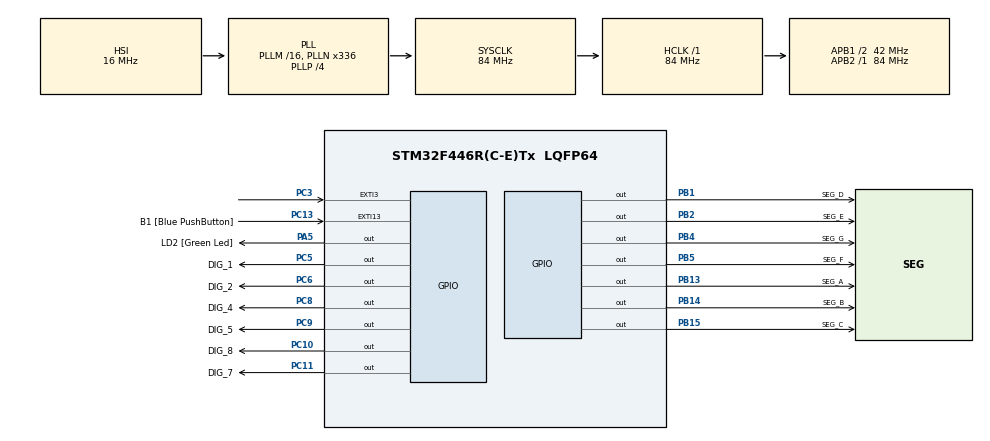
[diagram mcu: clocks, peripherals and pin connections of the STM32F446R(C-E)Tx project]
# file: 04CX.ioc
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Mcu.Family=STM32F4
Mcu.Name=STM32F446R(C-E)Tx
Mcu.Package=LQFP64
NVIC.EXTI15_10_IRQn=true\:0\:0\:false\:false\:true\:true\:true\:true
NVIC.EXTI3_IRQn=true\:0\:0\:false\:false\:true\:true\:true\:true
NVIC.PriorityGroup=NVIC_PRIORITYGROUP_0
PA13.GPIO_Label=TMS
PA13.Signal=SYS_JTMS-SWDIO
PA14.GPIO_Label=TCK
PA14.Signal=SYS_JTCK-SWCLK
PA2.GPIO_Label=USART_TX
PA2.Signal=USART2_TX
PA3.GPIO_Label=USART_RX
PA3.Signal=USART2_RX
PA5.GPIO_Label=LD2 [Green Led]
PA5.Signal=GPIO_Output
PB1.GPIO_Label=SEG_D
PB1.Signal=GPIO_Output
PB13.GPIO_Label=SEG_A
PB13.Signal=GPIO_Output
PB14.GPIO_Label=SEG_B
PB14.Signal=GPIO_Output
PB15.GPIO_Label=SEG_C
PB15.Signal=GPIO_Output
PB2.GPIO_Label=SEG_E
PB2.Signal=GPIO_Output
PB3.GPIO_Label=SWO
PB3.Signal=SYS_JTDO-SWO
PB4.GPIO_Label=SEG_G
PB4.Signal=GPIO_Output
PB5.GPIO_Label=SEG_F
PB5.Signal=GPIO_Output
PC10.GPIO_Label=DIG_8
PC10.Signal=GPIO_Output
PC11.GPIO_Label=DIG_7
PC11.Signal=GPIO_Output
PC13.GPIO_Label=B1 [Blue PushButton]
PC13.GPIO_ModeDefaultEXTI=GPIO_MODE_IT_FALLING
PC13.Signal=GPXTI13
PC14-OSC32_IN.Signal=RCC_OSC32_IN
PC15-OSC32_OUT.Signal=RCC_OSC32_OUT
PC3.GPIO_ModeDefaultEXTI=GPIO_MODE_IT_FALLING
PC3.GPIO_PuPd=GPIO_PULLUP
PC3.Signal=GPXTI3
PC5.GPIO_Label=DIG_1
PC5.Signal=GPIO_Output
PC6.GPIO_Label=DIG_2
PC6.Signal=GPIO_Output
PC8.GPIO_Label=DIG_4
PC8.Signal=GPIO_Output
PC9.GPIO_Label=DIG_5
PC9.Signal=GPIO_Output
PH0-OSC_IN.Signal=RCC_OSC_IN
PH1-OSC_OUT.Signal=RCC_OSC_OUT
ProjectManager.HeapSize=0x200
ProjectManager.StackSize=0x400
ProjectManager.TargetToolchain=STM32CubeIDE
RCC.AHBFreq_Value=84000000
RCC.APB1CLKDivider=RCC_HCLK_DIV2
RCC.APB1Freq_Value=42000000
RCC.APB1TimFreq_Value=84000000
RCC.APB2Freq_Value=84000000
RCC.APB2TimFreq_Value=84000000
RCC.CortexFreq_Value=84000000
RCC.FLatency-AdvancedSettings=FLASH_LATENCY_2
RCC.HCLKFreq_Value=84000000
RCC.HSE_VALUE=8000000
RCC.HSI_VALUE=16000000
RCC.LSE_VALUE=32768
RCC.PLLN=336
RCC.PLLP=RCC_PLLP_DIV4
RCC.SYSCLKFreq_VALUE=84000000
RCC.SYSCLKSource=RCC_SYSCLKSOURCE_PLLCLK
RCC.USBFreq_Value=168000000
RCC.VCOOutputFreq_Value=336000000
board=NUCLEO-F446RE

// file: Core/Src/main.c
/* USER CODE BEGIN Header */
/**
  ******************************************************************************
  * @file           : main.c
  * @brief          : Main program body
  ******************************************************************************
  * @attention
  *
  * Copyright (c) 2025 STMicroelectronics.
  * All rights reserved.
  *
  * This software is licensed under terms that can be found in the LICENSE file
  * in the root directory of this software component.
  * If no LICENSE file comes with this software, it is provided AS-IS.
  *
  ******************************************************************************
  */
/* USER CODE END Header */
#include "main.h"

/* USER CODE BEGIN Includes */
#include <stdio.h>
/* USER CODE END Includes */

/* USER CODE BEGIN PV */

volatile uint8_t ui8Time[6];
volatile int iHours, iMinutes, iSeconds;
volatile uint16_t ui16SecondTick = 0;

/* USER CODE END PV */

void SystemClock_Config(void);
static void MX_GPIO_Init(void);

int main(void)
{

  /* MCU Configuration--------------------------------------------------------*/

  /* Reset of all peripherals, Initializes the Flash interface and the Systick. */
  HAL_Init();

  /* Configure the system clock */
  SystemClock_Config();

  /* Initialize all configured peripherals */
  MX_GPIO_Init();
  /* USER CODE BEGIN 2 */

  //HAL_GPIO_WritePin(DIG_1_GPIO_Port, DIG_1_Pin, GPIO_PIN_SET); for initial testing

  sscanf(__TIME__,"%d:%d:%d",&iHours,&iMinutes,&iSeconds);
  ui8Time[0] = 0;//(uint8_t)(iHours/10);	// Tens of Hours
  ui8Time[1] = 9;//(uint8_t)(iHours%10);	// Hours
  ui8Time[2] = (uint8_t)(iMinutes/10);	// Tens Of Minutes
  ui8Time[3] = (uint8_t)(iMinutes%10);	//  Minutes
  ui8Time[4] = (uint8_t)(iSeconds/10);	// Tens Of Seconds
  ui8Time[5] = (uint8_t)(iSeconds%10);	// Seconds
  /* USER CODE END 2 */

  /* Infinite loop */
  /* USER CODE BEGIN WHILE */
  while (1)
  {
//	  for(uint8_t i=0; i<11; i++) // only for initial testing
//	  {
//		  Decode(i);
//		  HAL_Delay(1000);
//	  }

	  Multiplex();
    /* USER CODE END WHILE */

  }
}

void SystemClock_Config(void)
{
  RCC_OscInitTypeDef RCC_OscInitStruct = {0};
  RCC_ClkInitTypeDef RCC_ClkInitStruct = {0};

  /** Configure the main internal regulator output voltage
  */
  __HAL_RCC_PWR_CLK_ENABLE();
  __HAL_PWR_VOLTAGESCALING_CONFIG(PWR_REGULATOR_VOLTAGE_SCALE3);

  /** Initializes the RCC Oscillators according to the specified parameters
  * in the RCC_OscInitTypeDef structure.
  */
  RCC_OscInitStruct.OscillatorType = RCC_OSCILLATORTYPE_HSI;
  RCC_OscInitStruct.HSIState = RCC_HSI_ON;
  RCC_OscInitStruct.HSICalibrationValue = RCC_HSICALIBRATION_DEFAULT;
  RCC_OscInitStruct.PLL.PLLState = RCC_PLL_ON;
  RCC_OscInitStruct.PLL.PLLSource = RCC_PLLSOURCE_HSI;
  RCC_OscInitStruct.PLL.PLLM = 16;
  RCC_OscInitStruct.PLL.PLLN = 336;
  RCC_OscInitStruct.PLL.PLLP = RCC_PLLP_DIV4;
  RCC_OscInitStruct.PLL.PLLQ = 2;
  RCC_OscInitStruct.PLL.PLLR = 2;
  if (HAL_RCC_OscConfig(&RCC_OscInitStruct) != HAL_OK)
  {
    Error_Handler();
  }

  /** Initializes the CPU, AHB and APB buses clocks
  */
  RCC_ClkInitStruct.ClockType = RCC_CLOCKTYPE_HCLK|RCC_CLOCKTYPE_SYSCLK
                              |RCC_CLOCKTYPE_PCLK1|RCC_CLOCKTYPE_PCLK2;
  RCC_ClkInitStruct.SYSCLKSource = RCC_SYSCLKSOURCE_PLLCLK;
  RCC_ClkInitStruct.AHBCLKDivider = RCC_SYSCLK_DIV1;
  RCC_ClkInitStruct.APB1CLKDivider = RCC_HCLK_DIV2;
  RCC_ClkInitStruct.APB2CLKDivider = RCC_HCLK_DIV1;

  if (HAL_RCC_ClockConfig(&RCC_ClkInitStruct, FLASH_LATENCY_2) != HAL_OK)
  {
    Error_Handler();
  }
}

static void MX_GPIO_Init(void)
{
  GPIO_InitTypeDef GPIO_InitStruct = {0};

  /* GPIO Ports Clock Enable */
  __HAL_RCC_GPIOC_CLK_ENABLE();
  __HAL_RCC_GPIOH_CLK_ENABLE();
  __HAL_RCC_GPIOA_CLK_ENABLE();
  __HAL_RCC_GPIOB_CLK_ENABLE();

  /*Configure GPIO pin Output Level */
  HAL_GPIO_WritePin(LD2_GPIO_Port, LD2_Pin, GPIO_PIN_RESET);

  /*Configure GPIO pin Output Level */
  HAL_GPIO_WritePin(GPIOC, DIG_1_Pin|DIG_2_Pin|DIG_4_Pin|DIG_5_Pin
                          |DIG_8_Pin|DIG_7_Pin, GPIO_PIN_RESET);

  /*Configure GPIO pin Output Level */
  HAL_GPIO_WritePin(GPIOB, SEG_D_Pin|SEG_E_Pin|SEG_A_Pin|SEG_B_Pin
                          |SEG_C_Pin|SEG_G_Pin|SEG_F_Pin, GPIO_PIN_RESET);

  /*Configure GPIO pin : B1_Pin */
  GPIO_InitStruct.Pin = B1_Pin;
  GPIO_InitStruct.Mode = GPIO_MODE_IT_FALLING;
  GPIO_InitStruct.Pull = GPIO_NOPULL;
  HAL_GPIO_Init(B1_GPIO_Port, &GPIO_InitStruct);

  /*Configure GPIO pin : PC3 */
  GPIO_InitStruct.Pin = GPIO_PIN_3;
  GPIO_InitStruct.Mode = GPIO_MODE_IT_FALLING;
  GPIO_InitStruct.Pull = GPIO_PULLUP;
  HAL_GPIO_Init(GPIOC, &GPIO_InitStruct);

  /*Configure GPIO pins : USART_TX_Pin USART_RX_Pin */
  GPIO_InitStruct.Pin = USART_TX_Pin|USART_RX_Pin;
  GPIO_InitStruct.Mode = GPIO_MODE_AF_PP;
  GPIO_InitStruct.Pull = GPIO_NOPULL;
  GPIO_InitStruct.Speed = GPIO_SPEED_FREQ_VERY_HIGH;
  GPIO_InitStruct.Alternate = GPIO_AF7_USART2;
  HAL_GPIO_Init(GPIOA, &GPIO_InitStruct);

  /*Configure GPIO pin : LD2_Pin */
  GPIO_InitStruct.Pin = LD2_Pin;
  GPIO_InitStruct.Mode = GPIO_MODE_OUTPUT_PP;
  GPIO_InitStruct.Pull = GPIO_NOPULL;
  GPIO_InitStruct.Speed = GPIO_SPEED_FREQ_LOW;
  HAL_GPIO_Init(LD2_GPIO_Port, &GPIO_InitStruct);

  /*Configure GPIO pins : DIG_1_Pin DIG_2_Pin DIG_4_Pin DIG_5_Pin
                           DIG_8_Pin DIG_7_Pin */
  GPIO_InitStruct.Pin = DIG_1_Pin|DIG_2_Pin|DIG_4_Pin|DIG_5_Pin
                          |DIG_8_Pin|DIG_7_Pin;
  GPIO_InitStruct.Mode = GPIO_MODE_OUTPUT_PP;
  GPIO_InitStruct.Pull = GPIO_NOPULL;
  GPIO_InitStruct.Speed = GPIO_SPEED_FREQ_LOW;
  HAL_GPIO_Init(GPIOC, &GPIO_InitStruct);

  /*Configure GPIO pins : SEG_D_Pin SEG_E_Pin SEG_A_Pin SEG_B_Pin
                           SEG_C_Pin SEG_G_Pin SEG_F_Pin */
  GPIO_InitStruct.Pin = SEG_D_Pin|SEG_E_Pin|SEG_A_Pin|SEG_B_Pin
                          |SEG_C_Pin|SEG_G_Pin|SEG_F_Pin;
  GPIO_InitStruct.Mode = GPIO_MODE_OUTPUT_PP;
  GPIO_InitStruct.Pull = GPIO_NOPULL;
  GPIO_InitStruct.Speed = GPIO_SPEED_FREQ_LOW;
  HAL_GPIO_Init(GPIOB, &GPIO_InitStruct);

  /* EXTI interrupt init*/
  HAL_NVIC_SetPriority(EXTI3_IRQn, 0, 0);
  HAL_NVIC_EnableIRQ(EXTI3_IRQn);

  HAL_NVIC_SetPriority(EXTI15_10_IRQn, 0, 0);
  HAL_NVIC_EnableIRQ(EXTI15_10_IRQn);

}

/* USER CODE BEGIN 4 */

// decode and multiplex
void Decode(uint8_t ui8Display)
{
	switch(ui8Display)
	{
	case 0:  	//0 {A,B,C,D,E,F}
				HAL_GPIO_WritePin(SEG_A_GPIO_Port, SEG_A_Pin, GPIO_PIN_SET);	// A
				HAL_GPIO_WritePin(SEG_B_GPIO_Port, SEG_B_Pin, GPIO_PIN_SET);	// B
				HAL_GPIO_WritePin(SEG_C_GPIO_Port, SEG_C_Pin, GPIO_PIN_SET);	// C
				HAL_GPIO_WritePin(SEG_D_GPIO_Port, SEG_D_Pin, GPIO_PIN_SET);	// D
				HAL_GPIO_WritePin(SEG_E_GPIO_Port, SEG_E_Pin, GPIO_PIN_SET);	// E
				HAL_GPIO_WritePin(SEG_F_GPIO_Port, SEG_F_Pin, GPIO_PIN_SET);	// F
				HAL_GPIO_WritePin(SEG_G_GPIO_Port, SEG_G_Pin, GPIO_PIN_RESET);	// G
				break;

	case 1:  	//1 {B,C}
				HAL_GPIO_WritePin(SEG_A_GPIO_Port, SEG_A_Pin, GPIO_PIN_RESET);	// A
				HAL_GPIO_WritePin(SEG_B_GPIO_Port, SEG_B_Pin, GPIO_PIN_SET);	// B
				HAL_GPIO_WritePin(SEG_C_GPIO_Port, SEG_C_Pin, GPIO_PIN_SET);	// C
				HAL_GPIO_WritePin(SEG_D_GPIO_Port, SEG_D_Pin, GPIO_PIN_RESET);	// D
				HAL_GPIO_WritePin(SEG_E_GPIO_Port, SEG_E_Pin, GPIO_PIN_RESET);	// E
				HAL_GPIO_WritePin(SEG_F_GPIO_Port, SEG_F_Pin, GPIO_PIN_RESET);	// F
				HAL_GPIO_WritePin(SEG_G_GPIO_Port, SEG_G_Pin, GPIO_PIN_RESET);	// G
				break;

	case 2:  	//2 {A,B,D,E,G}
				HAL_GPIO_WritePin(SEG_A_GPIO_Port, SEG_A_Pin, GPIO_PIN_SET);	// A
				HAL_GPIO_WritePin(SEG_B_GPIO_Port, SEG_B_Pin, GPIO_PIN_SET);	// B
				HAL_GPIO_WritePin(SEG_C_GPIO_Port, SEG_C_Pin, GPIO_PIN_RESET);	// C
				HAL_GPIO_WritePin(SEG_D_GPIO_Port, SEG_D_Pin, GPIO_PIN_SET);	// D
				HAL_GPIO_WritePin(SEG_E_GPIO_Port, SEG_E_Pin, GPIO_PIN_SET);	// E
				HAL_GPIO_WritePin(SEG_F_GPIO_Port, SEG_F_Pin, GPIO_PIN_RESET);	// F
				HAL_GPIO_WritePin(SEG_G_GPIO_Port, SEG_G_Pin, GPIO_PIN_SET);	// G
				break;

	case 3:  	//3 {A,B,C,D,G}
				HAL_GPIO_WritePin(SEG_A_GPIO_Port, SEG_A_Pin, GPIO_PIN_SET);	// A
				HAL_GPIO_WritePin(SEG_B_GPIO_Port, SEG_B_Pin, GPIO_PIN_SET);	// B
				HAL_GPIO_WritePin(SEG_C_GPIO_Port, SEG_C_Pin, GPIO_PIN_SET);	// C
				HAL_GPIO_WritePin(SEG_D_GPIO_Port, SEG_D_Pin, GPIO_PIN_SET);	// D
				HAL_GPIO_WritePin(SEG_E_GPIO_Port, SEG_E_Pin, GPIO_PIN_RESET);	// E
				HAL_GPIO_WritePin(SEG_F_GPIO_Port, SEG_F_Pin, GPIO_PIN_RESET);	// F
				HAL_GPIO_WritePin(SEG_G_GPIO_Port, SEG_G_Pin, GPIO_PIN_SET);	// G
				break;

	case 4:  	//4 {B,C,F,G}
				HAL_GPIO_WritePin(SEG_A_GPIO_Port, SEG_A_Pin, GPIO_PIN_RESET);	// A
				HAL_GPIO_WritePin(SEG_B_GPIO_Port, SEG_B_Pin, GPIO_PIN_SET);	// B
				HAL_GPIO_WritePin(SEG_C_GPIO_Port, SEG_C_Pin, GPIO_PIN_SET);	// C
				HAL_GPIO_WritePin(SEG_D_GPIO_Port, SEG_D_Pin, GPIO_PIN_RESET);	// D
				HAL_GPIO_WritePin(SEG_E_GPIO_Port, SEG_E_Pin, GPIO_PIN_RESET);	// E
				HAL_GPIO_WritePin(SEG_F_GPIO_Port, SEG_F_Pin, GPIO_PIN_SET);	// F
				HAL_GPIO_WritePin(SEG_G_GPIO_Port, SEG_G_Pin, GPIO_PIN_SET);	// G
				break;

	case 5:  	//5 {A,C,D,F,G}
				HAL_GPIO_WritePin(SEG_A_GPIO_Port, SEG_A_Pin, GPIO_PIN_SET);	// A
				HAL_GPIO_WritePin(SEG_B_GPIO_Port, SEG_B_Pin, GPIO_PIN_RESET);	// B
				HAL_GPIO_WritePin(SEG_C_GPIO_Port, SEG_C_Pin, GPIO_PIN_SET);	// C
				HAL_GPIO_WritePin(SEG_D_GPIO_Port, SEG_D_Pin, GPIO_PIN_SET);	// D
				HAL_GPIO_WritePin(SEG_E_GPIO_Port, SEG_E_Pin, GPIO_PIN_RESET);	// E
				HAL_GPIO_WritePin(SEG_F_GPIO_Port, SEG_F_Pin, GPIO_PIN_SET);	// F
				HAL_GPIO_WritePin(SEG_G_GPIO_Port, SEG_G_Pin, GPIO_PIN_SET);	// G
				break;

	case 6:  	//6 {A,C,D,E,F,G}
				HAL_GPIO_WritePin(SEG_A_GPIO_Port, SEG_A_Pin, GPIO_PIN_SET);	// A
				HAL_GPIO_WritePin(SEG_B_GPIO_Port, SEG_B_Pin, GPIO_PIN_RESET);	// B
				HAL_GPIO_WritePin(SEG_C_GPIO_Port, SEG_C_Pin, GPIO_PIN_SET);	// C
				HAL_GPIO_WritePin(SEG_D_GPIO_Port, SEG_D_Pin, GPIO_PIN_SET);	// D
				HAL_GPIO_WritePin(SEG_E_GPIO_Port, SEG_E_Pin, GPIO_PIN_SET);	// E
				HAL_GPIO_WritePin(SEG_F_GPIO_Port, SEG_F_Pin, GPIO_PIN_SET);	// F
				HAL_GPIO_WritePin(SEG_G_GPIO_Port, SEG_G_Pin, GPIO_PIN_SET);	// G
				break;

	case 7:  	//0 {A,B,C}
				HAL_GPIO_WritePin(SEG_A_GPIO_Port, SEG_A_Pin, GPIO_PIN_SET);	// A
				HAL_GPIO_WritePin(SEG_B_GPIO_Port, SEG_B_Pin, GPIO_PIN_SET);	// B
				HAL_GPIO_WritePin(SEG_C_GPIO_Port, SEG_C_Pin, GPIO_PIN_SET);	// C
				HAL_GPIO_WritePin(SEG_D_GPIO_Port, SEG_D_Pin, GPIO_PIN_RESET);	// D
				HAL_GPIO_WritePin(SEG_E_GPIO_Port, SEG_E_Pin, GPIO_PIN_RESET);	// E
				HAL_GPIO_WritePin(SEG_F_GPIO_Port, SEG_F_Pin, GPIO_PIN_RESET);	// F
				HAL_GPIO_WritePin(SEG_G_GPIO_Port, SEG_G_Pin, GPIO_PIN_RESET);	// G
				break;

	case 8:  	//8 {A,B,C,D,E,F,G}
				HAL_GPIO_WritePin(SEG_A_GPIO_Port, SEG_A_Pin, GPIO_PIN_SET);	// A
				HAL_GPIO_WritePin(SEG_B_GPIO_Port, SEG_B_Pin, GPIO_PIN_SET);	// B
				HAL_GPIO_WritePin(SEG_C_GPIO_Port, SEG_C_Pin, GPIO_PIN_SET);	// C
				HAL_GPIO_WritePin(SEG_D_GPIO_Port, SEG_D_Pin, GPIO_PIN_SET);	// D
				HAL_GPIO_WritePin(SEG_E_GPIO_Port, SEG_E_Pin, GPIO_PIN_SET);	// E
				HAL_GPIO_WritePin(SEG_F_GPIO_Port, SEG_F_Pin, GPIO_PIN_SET);	// F
				HAL_GPIO_WritePin(SEG_G_GPIO_Port, SEG_G_Pin, GPIO_PIN_SET);	// G
				break;

	case 9:  	//9 {A,B,C,D,F,G}
				HAL_GPIO_WritePin(SEG_A_GPIO_Port, SEG_A_Pin, GPIO_PIN_SET);	// A
				HAL_GPIO_WritePin(SEG_B_GPIO_Port, SEG_B_Pin, GPIO_PIN_SET);	// B
				HAL_GPIO_WritePin(SEG_C_GPIO_Port, SEG_C_Pin, GPIO_PIN_SET);	// C
				HAL_GPIO_WritePin(SEG_D_GPIO_Port, SEG_D_Pin, GPIO_PIN_SET);	// D
				HAL_GPIO_WritePin(SEG_E_GPIO_Port, SEG_E_Pin, GPIO_PIN_RESET);	// E
				HAL_GPIO_WritePin(SEG_F_GPIO_Port, SEG_F_Pin, GPIO_PIN_SET);	// F
				HAL_GPIO_WritePin(SEG_G_GPIO_Port, SEG_G_Pin, GPIO_PIN_SET);	// G
				break;

	default:  	//OFF {}
				HAL_GPIO_WritePin(SEG_A_GPIO_Port, SEG_A_Pin, GPIO_PIN_RESET);	// A
				HAL_GPIO_WritePin(SEG_B_GPIO_Port, SEG_B_Pin, GPIO_PIN_RESET);	// B
				HAL_GPIO_WritePin(SEG_C_GPIO_Port, SEG_C_Pin, GPIO_PIN_RESET);	// C
				HAL_GPIO_WritePin(SEG_D_GPIO_Port, SEG_D_Pin, GPIO_PIN_RESET);	// D
				HAL_GPIO_WritePin(SEG_E_GPIO_Port, SEG_E_Pin, GPIO_PIN_RESET);	// E
				HAL_GPIO_WritePin(SEG_F_GPIO_Port, SEG_F_Pin, GPIO_PIN_RESET);	// F
				HAL_GPIO_WritePin(SEG_G_GPIO_Port, SEG_G_Pin, GPIO_PIN_RESET);	// G
				break;
	}
	return;
}
void Multiplex(void)
{
	// Display Hours on Digit1
	Decode(ui8Time[0]);
	HAL_GPIO_WritePin(DIG_1_GPIO_Port, DIG_1_Pin, GPIO_PIN_SET);
	HAL_Delay(1);
	HAL_GPIO_WritePin(DIG_1_GPIO_Port, DIG_1_Pin, GPIO_PIN_RESET);

	// Display Tens of Hours on Digit2
	Decode(ui8Time[1]);
	HAL_GPIO_WritePin(DIG_2_GPIO_Port, DIG_2_Pin, GPIO_PIN_SET);
	HAL_Delay(1);
	HAL_GPIO_WritePin(DIG_2_GPIO_Port, DIG_2_Pin, GPIO_PIN_RESET);

	// Display Minutes on Digit4
	Decode(ui8Time[2]);
	HAL_GPIO_WritePin(DIG_4_GPIO_Port, DIG_4_Pin, GPIO_PIN_SET);
	HAL_Delay(1);
	HAL_GPIO_WritePin(DIG_4_GPIO_Port, DIG_4_Pin, GPIO_PIN_RESET);

	// Display Tens of Minutes on Digit5
	Decode(ui8Time[3]);
	HAL_GPIO_WritePin(DIG_5_GPIO_Port, DIG_5_Pin, GPIO_PIN_SET);
	HAL_Delay(1);
	HAL_GPIO_WritePin(DIG_5_GPIO_Port, DIG_5_Pin, GPIO_PIN_RESET);

	// Display Seconds on Digit7
	Decode(ui8Time[4]);
	HAL_GPIO_WritePin(DIG_7_GPIO_Port, DIG_7_Pin, GPIO_PIN_SET);
	HAL_Delay(1);
	HAL_GPIO_WritePin(DIG_7_GPIO_Port, DIG_7_Pin, GPIO_PIN_RESET);

	// Display Seconds on Digit8
	Decode(ui8Time[5]);
	HAL_GPIO_WritePin(DIG_8_GPIO_Port, DIG_8_Pin, GPIO_PIN_SET);
	HAL_Delay(1);
	HAL_GPIO_WritePin(DIG_8_GPIO_Port, DIG_8_Pin, GPIO_PIN_RESET);

	return;
}
//---------------------

// SecondTick
void GetSecondTick(void)
{
	if(ui16SecondTick < 999) ui16SecondTick ++;
	else
	{
		ui16SecondTick = 0;
		IncSec();
	}
	return;
}
//-----------

// time increment
void IncSec(void)
{
	if(ui8Time[5] < 9) ui8Time[5] ++;
	else
	{
		ui8Time[5] = 0;
		IncTSec();
	}
	return;
}
void IncTSec(void)
{
	if(ui8Time[4] < 5) ui8Time[4] ++;
	else
	{
		ui8Time[4] = 0;
		IncMin();
	}
	return;
}
void IncMin(void)
{
	if(ui8Time[3] < 9) ui8Time[3] ++;
	else
	{
		ui8Time[3] = 0;
		IncTMin();
	}
	return;
}
void IncTMin(void)
{
	if(ui8Time[2] < 5) ui8Time[2] ++;
	else
	{
		ui8Time[2] = 0;
		IncHour();
	}
	return;
}
void IncHour(void)
{
	if(ui8Time[0] > 1)
	{
		if(ui8Time[1] < 3) ui8Time[1] ++;
		else
		{
			ui8Time[1] = 0;
			IncTHour();
		}
	}
	else
	{
		if(ui8Time[1] < 9) ui8Time[1] ++;
		else
		{
			ui8Time[1] = 0;
			IncTHour();
		}
	}
	return;
}
void IncTHour(void)
{
	if(ui8Time[0] < 2) ui8Time[0]++;
	else ui8Time[0] = 0;
	return;
}
//---------------

void HAL_GPIO_EXTI_Callback(uint16_t GPIO_Pin)
{
  /* Prevent unused argument(s) compilation warning */
  //UNUSED(GPIO_Pin);
  /* NOTE: This function Should not be modified, when the callback is needed,
           the HAL_GPIO_EXTI_Callback could be implemented in the user file

   */

	if(GPIO_Pin == GPIO_PIN_13)
	{
		IncMin();
		ui8Time[4] = 0;
		ui8Time[5] = 0;
		return;
	}

	if(GPIO_Pin == GPIO_PIN_3)
	{
		IncHour();
		ui8Time[4] = 0;
		ui8Time[5] = 0;
		return;
	}

}

/* USER CODE END 4 */

void Error_Handler(void)
{
  __disable_irq();
  while (1)
  {
  }
}
